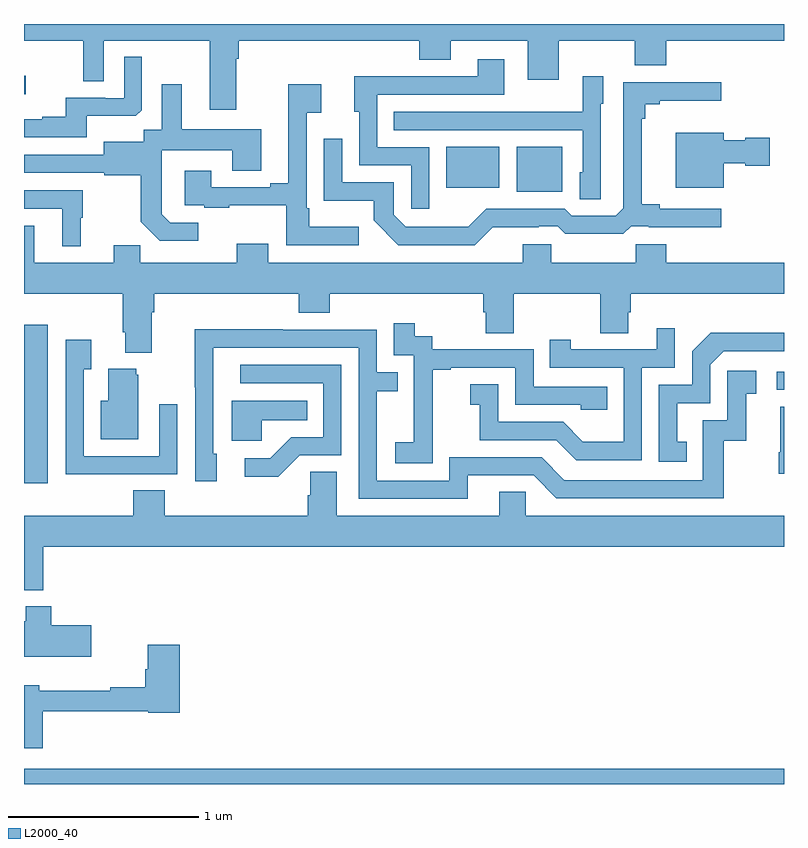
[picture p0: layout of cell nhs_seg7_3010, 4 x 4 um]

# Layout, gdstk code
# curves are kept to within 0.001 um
import gdstk
lib = gdstk.Library(unit=1e-6, precision=1e-09)
def R(c, l, rs):  # rectangles x0, y0, x1, y1
    for r in rs: c.add(gdstk.rectangle(r[:2], r[2:], *l))
def P(c, l, *ps):  # polygons
    for p in ps: c.add(gdstk.Polygon(p, *l))
L2000_40 = (2000, 40)

nhs_seg7_3010 = lib.new_cell('nhs_seg7_3010')
R(nhs_seg7_3010, L2000_40, [(303,1034,307,1034.08), (303,1035.582,303.124,1036.417), (306.963,1036.074,307,1036.17), (305.594,1037.117,305.833,1037.353), (305.222,1037.138,305.5,1037.353), (303,1037.63,303.01,1037.728)])
P(nhs_seg7_3010, L2000_40, [(304.117,1037.816),(304.13,1037.816),(304.13,1037.912),(305.081,1037.912),(305.081,1037.813),(305.245,1037.813),(305.245,1037.912),(305.651,1037.912),(305.651,1037.706),(305.815,1037.706),(305.815,1037.912),(306.215,1037.912),(306.215,1037.784),(306.379,1037.784),(306.379,1037.912),(307,1037.912),(307,1038),(303,1038),(303,1037.912),(303.312,1037.912),(303.312,1037.698),(303.42,1037.698),(303.42,1037.912),(303.977,1037.912),(303.977,1037.55),(304.117,1037.55)],
  [(303.331,1037.516),(303.589,1037.516),(303.621,1037.547),(303.621,1037.827),(303.528,1037.827),(303.528,1037.61),(303.428,1037.61),(303.428,1037.613),(303.221,1037.613),(303.221,1037.512),(303.097,1037.512),(303.097,1037.5),(303,1037.5),(303,1037.403),(303.331,1037.403)],
  [(305.133,1037.352),(304.86,1037.352),(304.86,1037.628),(305.527,1037.628),(305.527,1037.815),(305.387,1037.815),(305.387,1037.724),(304.957,1037.724),(304.957,1037.726),(304.739,1037.726),(304.739,1037.538),(304.764,1037.538),(304.764,1037.256),(305.037,1037.256),(305.037,1037.028),(305.133,1037.028)],
  [(306.036,1037.58),(306.049,1037.58),(306.049,1037.725),(305.94,1037.725),(305.94,1037.539),(305.623,1037.539),(305.623,1037.538),(304.945,1037.538),(304.945,1037.442),(305.94,1037.442),(305.94,1037.22),(305.924,1037.22),(305.924,1037.077),(306.036,1037.077)],
  [(305.468,1036.93),(305.708,1036.93),(305.708,1036.935),(305.808,1036.935),(305.848,1036.896),(306.155,1036.896),(306.195,1036.935),(306.289,1036.935),(306.289,1036.93),(306.67,1036.93),(306.67,1037.028),(306.346,1037.028),(306.346,1037.051),(306.251,1037.051),(306.251,1037.501),(306.269,1037.501),(306.269,1037.578),(306.346,1037.578),(306.346,1037.597),(306.67,1037.597),(306.67,1037.694),(306.153,1037.694),(306.153,1037.031),(306.114,1036.992),(305.883,1036.992),(305.847,1037.028),(305.433,1037.028),(305.339,1036.934),(305.234,1036.934),(305.234,1036.932),(305.01,1036.932),(304.947,1036.995),(304.947,1037.166),(304.674,1037.166),(304.674,1037.395),(304.578,1037.395),(304.578,1037.069),(304.84,1037.069),(304.84,1036.967),(304.97,1036.836),(305.373,1036.836)],
  [(303.916,1036.953),(303.771,1036.953),(303.724,1037),(303.724,1037.095),(303.726,1037.095),(303.726,1037.336),(304.097,1037.336),(304.097,1037.227),(304.249,1037.227),(304.249,1037.446),(303.829,1037.446),(303.829,1037.683),(303.725,1037.683),(303.725,1037.444),(303.63,1037.444),(303.63,1037.38),(303.419,1037.38),(303.419,1037.313),(303,1037.313),(303,1037.217),(303.423,1037.217),(303.423,1037.205),(303.615,1037.205),(303.615,1036.959),(303.715,1036.859),(303.916,1036.859)],
  [(304.762,1036.933),(304.501,1036.933),(304.501,1037.029),(304.488,1037.029),(304.488,1037.534),(304.564,1037.534),(304.564,1037.683),(304.391,1037.683),(304.391,1037.161),(304.295,1037.161),(304.295,1037.142),(303.985,1037.142),(303.985,1037.227),(303.845,1037.227),(303.845,1037.046),(303.949,1037.046),(303.949,1037.034),(304.081,1037.034),(304.081,1037.045),(304.38,1037.045),(304.38,1036.836),(304.762,1036.836)],
  [(306.682,1037.267),(306.795,1037.267),(306.795,1037.255),(306.925,1037.255),(306.925,1037.402),(306.795,1037.402),(306.795,1037.389),(306.682,1037.389),(306.682,1037.428),(306.431,1037.428),(306.431,1037.138),(306.682,1037.138)],
  [(303.298,1036.98),(303.31,1036.98),(303.31,1037.124),(303,1037.124),(303,1037.028),(303.2,1037.028),(303.2,1036.829),(303.298,1036.829)],
  [(303.673,1036.484),(303.686,1036.484),(303.686,1036.58),(304.445,1036.58),(304.445,1036.481),(304.61,1036.481),(304.61,1036.58),(305.417,1036.58),(305.417,1036.482),(305.429,1036.482),(305.429,1036.372),(305.577,1036.372),(305.577,1036.58),(306.034,1036.58),(306.034,1036.372),(306.181,1036.372),(306.181,1036.482),(306.194,1036.482),(306.194,1036.58),(307,1036.58),(307,1036.744),(306.38,1036.744),(306.38,1036.842),(306.22,1036.842),(306.22,1036.744),(305.775,1036.744),(305.775,1036.842),(305.624,1036.842),(305.624,1036.744),(304.285,1036.744),(304.285,1036.843),(304.121,1036.843),(304.121,1036.744),(303.611,1036.744),(303.611,1036.835),(303.473,1036.835),(303.473,1036.744),(303.055,1036.744),(303.055,1036.939),(303,1036.939),(303,1036.58),(303.521,1036.58),(303.521,1036.378),(303.533,1036.378),(303.533,1036.271),(303.673,1036.271)],
  [(305.151,1035.895),(305.15,1035.895),(305.15,1036.179),(305.245,1036.179),(305.245,1036.191),(305.586,1036.191),(305.586,1035.996),(305.931,1035.996),(305.931,1035.969),(306.071,1035.969),(306.071,1036.092),(305.682,1036.092),(305.682,1036.287),(305.148,1036.287),(305.148,1036.356),(305.056,1036.356),(305.056,1036.426),(304.947,1036.426),(304.947,1036.257),(305.052,1036.257),(305.052,1036.028),(305.051,1036.028),(305.051,1035.799),(304.953,1035.799),(304.953,1035.689),(305.151,1035.689)],
  [(306.252,1036.191),(306.426,1036.191),(306.426,1036.399),(306.329,1036.399),(306.329,1036.287),(305.878,1036.287),(305.878,1036.339),(305.767,1036.339),(305.767,1036.191),(306.156,1036.191),(306.156,1035.802),(305.942,1035.802),(305.838,1035.906),(305.496,1035.906),(305.496,1036.105),(305.349,1036.105),(305.349,1035.995),(305.398,1035.995),(305.398,1035.81),(305.801,1035.81),(305.906,1035.705),(306.252,1035.705)],
  [(305.335,1035.624),(305.682,1035.624),(305.802,1035.504),(306.682,1035.504),(306.682,1035.807),(306.8,1035.807),(306.8,1036.053),(306.853,1036.053),(306.853,1036.174),(306.702,1036.174),(306.702,1035.915),(306.573,1035.915),(306.573,1035.6),(305.844,1035.6),(305.724,1035.72),(305.238,1035.72),(305.238,1035.597),(304.857,1035.597),(304.857,1036.066),(304.967,1036.066),(304.967,1036.167),(304.857,1036.167),(304.857,1036.392),(304.361,1036.392),(304.361,1036.394),(303.898,1036.394),(303.898,1036.087),(303.9,1036.087),(303.9,1035.594),(304.015,1035.594),(304.015,1035.738),(303.996,1035.738),(303.997,1036.296),(304.761,1036.296),(304.761,1035.501),(305.335,1035.501)],
  [(306.488,1035.801),(306.439,1035.801),(306.439,1036.005),(306.612,1036.005),(306.612,1036.206),(306.684,1036.278),(307,1036.278),(307,1036.376),(306.614,1036.376),(306.516,1036.278),(306.516,1036.101),(306.342,1036.101),(306.342,1035.696),(306.488,1035.696)],
  [(303.491,1035.63),(303.807,1035.63),(303.807,1036),(303.711,1036),(303.711,1035.726),(303.315,1035.726),(303.315,1036.183),(303.355,1036.183),(303.355,1036.339),(303.219,1036.339),(303.219,1035.629),(303.491,1035.629)],
  [(304.452,1035.729),(304.671,1035.729),(304.671,1036.206),(304.137,1036.206),(304.137,1036.11),(304.575,1036.11),(304.575,1035.825),(304.406,1035.825),(304.295,1035.714),(304.161,1035.714),(304.161,1035.617),(304.339,1035.617)],
  [(303.601,1036.155),(303.59,1036.155),(303.59,1036.186),(303.443,1036.186),(303.443,1036.018),(303.404,1036.018),(303.404,1035.815),(303.601,1035.815)],
  [(304.251,1035.914),(304.49,1035.914),(304.49,1036.018),(304.094,1036.018),(304.094,1035.806),(304.251,1035.806)],
  [(307,1035.985),(306.98,1035.985),(306.98,1035.745),(306.973,1035.745),(306.973,1035.632),(307,1035.632)],
  [(307,1035.412),(305.64,1035.412),(305.64,1035.539),(305.501,1035.539),(305.501,1035.412),(304.645,1035.412),(304.645,1035.644),(304.506,1035.644),(304.506,1035.521),(304.493,1035.521),(304.493,1035.412),(303.74,1035.412),(303.74,1035.545),(303.575,1035.545),(303.575,1035.412),(303,1035.412),(303,1035.02),(303.101,1035.02),(303.101,1035.248),(307,1035.248)],
  [(303.355,1034.835),(303.143,1034.835),(303.143,1034.935),(303.008,1034.935),(303.008,1034.857),(303,1034.857),(303,1034.669),(303.355,1034.669)],
  [(303.098,1034.382),(303.654,1034.382),(303.654,1034.374),(303.821,1034.374),(303.821,1034.734),(303.65,1034.734),(303.65,1034.604),(303.638,1034.604),(303.638,1034.51),(303.454,1034.51),(303.454,1034.491),(303.079,1034.491),(303.079,1034.521),(303,1034.521),(303,1034.187),(303.098,1034.187)])

lib.write_gds('nhs_seg7_3010.gds')
